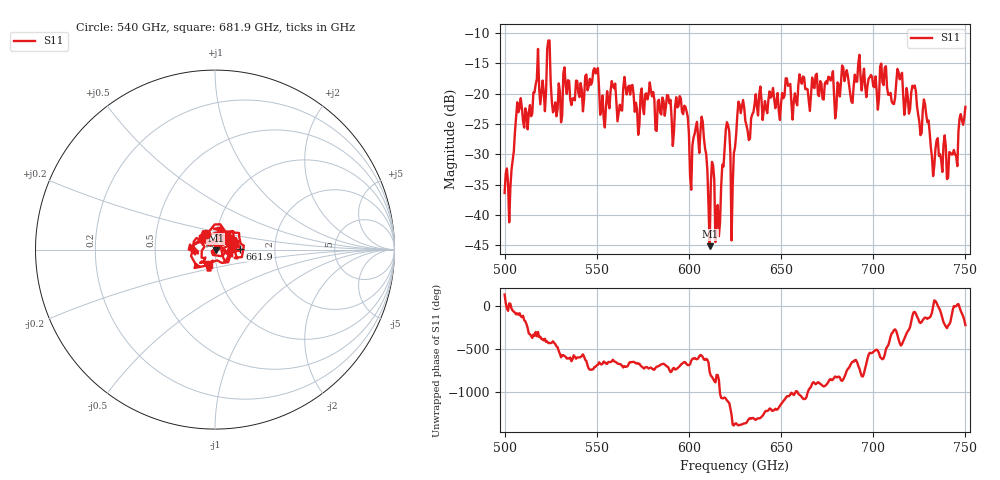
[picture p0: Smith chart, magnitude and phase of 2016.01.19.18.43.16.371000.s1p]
!Created with skrf (http://scikit-rf.org).
# GHz S RI R 50.0
!freq ReS11 ImS11
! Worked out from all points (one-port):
!   401 points, 500 GHz to 750 GHz, reference 50 ohm
!   lowest |S11| = -45.1 dB at 611.2 GHz (marker M1), VSWR 1.01, Z = 50.4 - j0.419 ohm
!   |S11| at or under -10 dB: start of sweep to end of sweep
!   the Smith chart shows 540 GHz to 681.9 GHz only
!   S11 on the Smith chart (normalised r, x): 540 GHz: 0.89, +0.16; 661.9 GHz: 1.32, +0.02; 681.9 GHz: 0.92, -0.16
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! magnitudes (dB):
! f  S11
! 500 GHz  -36.4
! 503.1 GHz  -35.5
! 507.5 GHz  -23.0
! 513.8 GHz  -21.9
! 516.9 GHz  -18.4
! 531.2 GHz  -23.5
! 540 GHz  -19.8
! 549.4 GHz  -16.7
! 553.1 GHz  -20.3
! 562.5 GHz  -21.8
! 593.8 GHz  -22.3
! 601.2 GHz  -35.8
! 607.5 GHz  -24.6
! 611.2 GHz  -45.1
! 615.6 GHz  -38.3
! 620.6 GHz  -24.7
! 623.8 GHz  -35.1
! 625 GHz  -28.9
! 628.1 GHz  -23.2
! 631.9 GHz  -26.2
! 656.2 GHz  -24.3
! 661.9 GHz  -17.2
! 681.9 GHz  -20.5
! 687.5 GHz  -20.0
! 714.4 GHz  -17.6
! 718.8 GHz  -20.5
! 741.2 GHz  -29.6
! 750 GHz  -22.2
